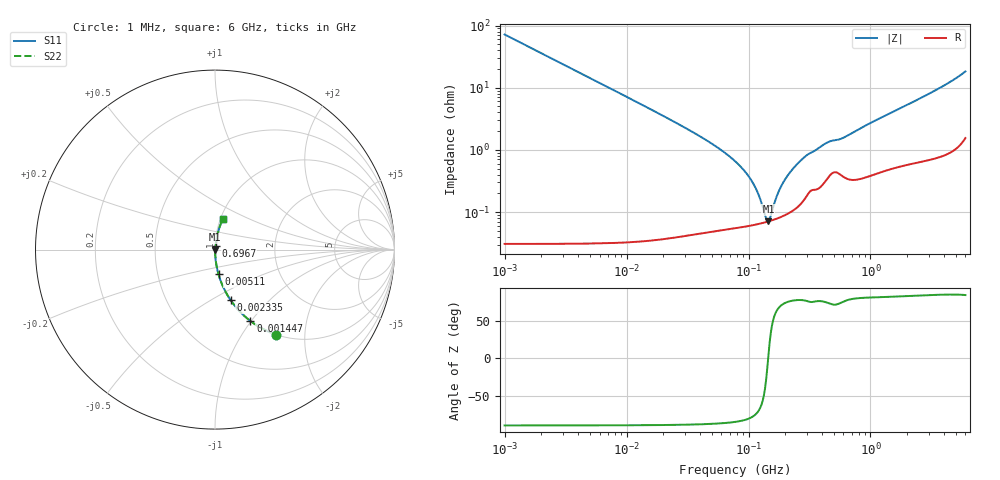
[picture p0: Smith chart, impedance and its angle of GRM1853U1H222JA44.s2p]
!Murata Part Number: GRM1853U1H222JA44
!These Parameters are Measured in Series Mode Connection
!Data Generated on Mar 30, 2021
!  o--ll--o
!Port1  Port2
!  o------o
!Operation Temp=25[degC], DC Bias Voltage=0[V]
!Freq. Start=1000[kHz] Stop=6[GHz] 401[Steps]
# Hz S RI R 50
!Freq.(Hz) S11(Real) S11(Imag) S21(Real) S21(Imag) S12(Real) S12(Imag) S22(Real) S22(Imag)
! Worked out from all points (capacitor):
!   401 points, 1 MHz to 6 GHz, reference 50 ohm
!   read as one part in series: C = 2.22 nF near 1.044 MHz
!   lowest |Z| = 70.7 mohm at 145.5 MHz (marker M1)
!   series resonance near 144.8 MHz, so ESL is about 550 pH
!   S11 on the Smith chart (normalised r, x): 1 MHz: 1.00, -1.44; 1.447 MHz: 1.00, -0.99; 2.335 MHz: 1.00, -0.61; 5.11 MHz: 1.00, -0.28; 696.7 MHz: 1.01, +0.04; 6 GHz: 1.03, +0.36
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1000000  0.3403 -0.4736  0.6597 0.4736  0.6597 0.4736  0.3403 -0.4736
1447343  0.1977 -0.398  0.8023 0.398  0.8023 0.398  0.1977 -0.398
2335446  0.0866 -0.2807  0.9134 0.2807  0.9134 0.2807  0.0866 -0.2807
4293785  0.0274 -0.1625  0.9726 0.1625  0.9726 0.1625  0.0274 -0.1625
5109794  0.0196 -0.1376  0.9804 0.1376  0.9804 0.1376  0.0196 -0.1376
1.843659e7  0.00182 -0.0382  0.9982 0.0382  0.9982 0.0382  0.00182 -0.0382
4.596069e7  0.000663 -0.0139  0.9993 0.0139  0.9993 0.0139  0.000663 -0.0139
7.745967e7  0.00059 -0.00656  0.9994 0.00656  0.9994 0.00656  0.00059 -0.00656
1.073387e8  0.000619 -0.00299  0.9994 0.00299  0.9994 0.00299  0.000619 -0.00299
1.223006e8  0.000648 -0.00167  0.9994 0.00167  0.9994 0.00167  0.000648 -0.00167
1.39348e8  0.000688 -0.000379  0.9993 0.000379  0.9993 0.000379  0.000688 -0.000379
1.455431e8  0.000705 4.99e-05  0.9993 -4.99e-05  0.9993 -4.99e-05  0.000705 4.99e-05
1.520136e8  0.000724 0.000479  0.9993 -0.000479  0.9993 -0.000479  0.000724 0.000479
1.770109e8  0.000808 0.002  0.9992 -0.002  0.9992 -0.002  0.000808 0.002
2.016844e8  0.000912 0.00334  0.9991 -0.00334  0.9991 -0.00334  0.000912 0.00334
2.618284e8  0.00132 0.0063  0.9987 -0.0063  0.9987 -0.0063  0.00132 0.0063
3.325952e8  0.00233 0.00888  0.9977 -0.00888  0.9977 -0.00888  0.00233 0.00888
4.412715e8  0.00355 0.0126  0.9964 -0.0126  0.9964 -0.0126  0.00355 0.0126
6.967209e8  0.0036 0.018  0.9964 -0.018  0.9964 -0.018  0.0036 0.018
1.428092e9  0.00621 0.0376  0.9938 -0.0376  0.9938 -0.0376  0.00621 0.0376
3.335232e9  0.0147 0.0865  0.9853 -0.0865  0.9853 -0.0865  0.0147 0.0865
6e9  0.046 0.1712  0.954 -0.1712  0.954 -0.1712  0.046 0.1712
